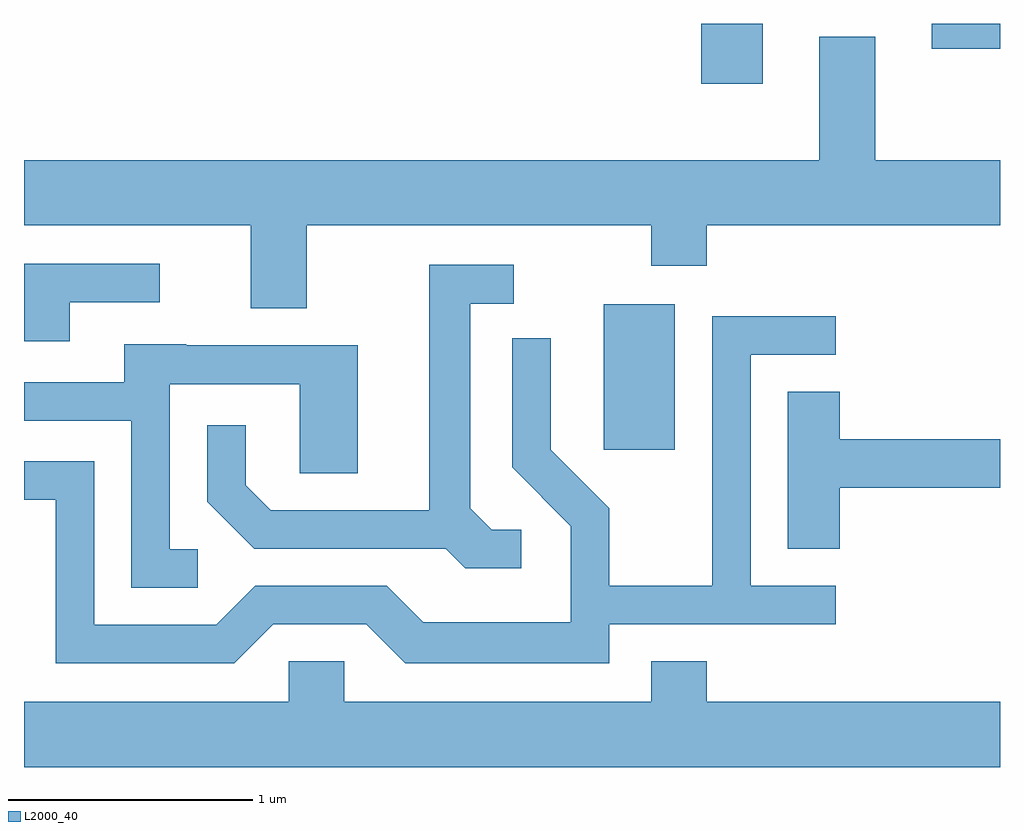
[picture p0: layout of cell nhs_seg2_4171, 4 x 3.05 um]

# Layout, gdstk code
import gdstk
lib = gdstk.Library(unit=1e-6, precision=1e-09)
def R(c, l, rs):  # rectangles x0, y0, x1, y1
    for r in rs: c.add(gdstk.rectangle(r[:2], r[2:], *l))
def P(c, l, *ps):  # polygons
    for p in ps: c.add(gdstk.Polygon(p, *l))
L2000_40 = (2000, 40)

nhs_seg2_4171 = lib.new_cell('nhs_seg2_4171')
R(nhs_seg2_4171, L2000_40, [(309.986,1054.056,310.279,1054.654), (310.386,1055.556,310.639,1055.802), (311.331,1055.701,311.611,1055.802)])
P(nhs_seg2_4171, L2000_40, [(308.769,1054.976),(310.181,1054.976),(310.181,1054.811),(310.409,1054.811),(310.409,1054.976),(311.611,1054.976),(311.611,1055.244),(311.099,1055.244),(311.099,1055.749),(310.871,1055.749),(310.871,1055.244),(307.611,1055.244),(307.611,1054.976),(308.541,1054.976),(308.541,1054.636),(308.769,1054.636)],
  [(307.799,1054.661),(308.168,1054.661),(308.168,1054.819),(307.611,1054.819),(307.611,1054.501),(307.799,1054.501)],
  [(309.648,1053.729),(309.527,1053.729),(309.439,1053.817),(309.439,1054.656),(309.618,1054.656),(309.618,1054.814),(309.271,1054.814),(309.271,1053.809),(308.622,1053.809),(308.519,1053.912),(308.519,1054.158),(308.361,1054.158),(308.361,1053.844),(308.554,1053.651),(309.339,1053.651),(309.419,1053.571),(309.648,1053.571)],
  [(308.632,1053.341),(309.014,1053.341),(309.174,1053.181),(310.009,1053.181),(310.009,1053.341),(310.938,1053.341),(310.938,1053.499),(310.589,1053.499),(310.589,1054.446),(310.938,1054.446),(310.938,1054.604),(310.431,1054.604),(310.431,1053.499),(310.009,1053.499),(310.009,1053.817),(309.769,1054.057),(309.769,1054.513),(309.611,1054.513),(309.611,1053.984),(309.851,1053.744),(309.851,1053.349),(309.247,1053.349),(309.097,1053.499),(308.559,1053.499),(308.399,1053.339),(307.899,1053.339),(307.899,1054.009),(307.611,1054.009),(307.611,1053.851),(307.741,1053.851),(307.741,1053.181),(308.472,1053.181)],
  [(308.323,1053.649),(308.209,1053.649),(308.209,1054.326),(308.741,1054.326),(308.741,1053.961),(308.979,1053.961),(308.979,1054.484),(308.275,1054.484),(308.275,1054.489),(308.021,1054.489),(308.021,1054.334),(307.611,1054.334),(307.611,1054.176),(308.051,1054.176),(308.051,1053.491),(308.323,1053.491)],
  [(310.954,1053.901),(311.611,1053.901),(311.611,1054.099),(310.954,1054.099),(310.954,1054.294),(310.741,1054.294),(310.741,1053.651),(310.954,1053.651)],
  [(311.611,1053.024),(310.409,1053.024),(310.409,1053.189),(310.181,1053.189),(310.181,1053.024),(308.924,1053.024),(308.924,1053.189),(308.696,1053.189),(308.696,1053.024),(307.611,1053.024),(307.611,1052.756),(311.611,1052.756)])

lib.write_gds('nhs_seg2_4171.gds')
